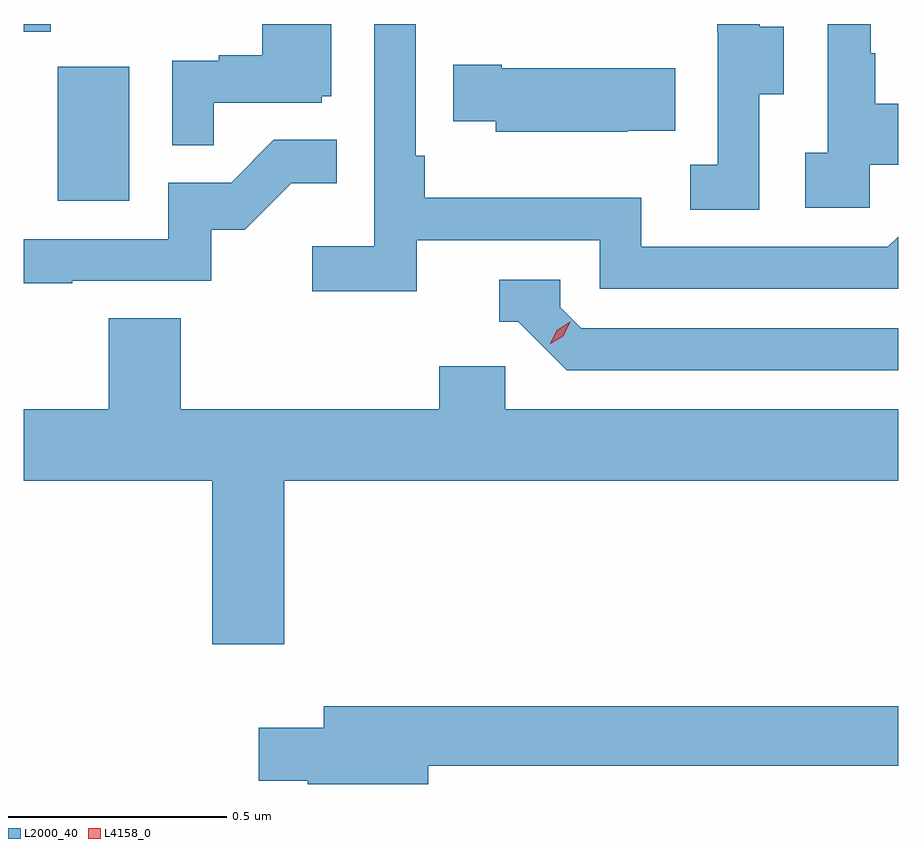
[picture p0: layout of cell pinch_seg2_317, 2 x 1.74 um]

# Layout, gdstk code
import gdstk
lib = gdstk.Library(unit=1e-6, precision=1e-09)
def R(c, l, rs):  # rectangles x0, y0, x1, y1
    for r in rs: c.add(gdstk.rectangle(r[:2], r[2:], *l))
def P(c, l, *ps):  # polygons
    for p in ps: c.add(gdstk.Polygon(p, *l))
L2000_40 = (2000, 40)
L4158_0 = (4158, 0)

pinch_seg2_317 = lib.new_cell('pinch_seg2_317')
R(pinch_seg2_317, L2000_40, [(943.874,634.956,944.038,635.263), (943.797,635.343,943.858,635.361)])
P(pinch_seg2_317, L2000_40, [(944.696,634.866),(945.114,634.866),(945.114,634.755),(945.797,634.755),(945.797,634.874),(945.774,634.851),(945.21,634.851),(945.21,634.963),(944.714,634.963),(944.714,635.059),(944.694,635.059),(944.694,635.361),(944.598,635.361),(944.598,634.852),(944.457,634.852),(944.457,634.75),(944.696,634.75)],
  [(945.732,635.039),(945.797,635.039),(945.797,635.179),(945.745,635.179),(945.745,635.294),(945.735,635.294),(945.735,635.361),(945.636,635.361),(945.636,635.066),(945.585,635.066),(945.585,634.941),(945.732,634.941)],
  [(945.48,635.2),(945.535,635.2),(945.535,635.355),(945.481,635.355),(945.481,635.361),(945.383,635.361),(945.383,635.343),(945.384,635.343),(945.384,635.039),(945.321,635.039),(945.321,634.936),(945.48,634.936)],
  [(944.231,635.181),(944.478,635.181),(944.478,635.196),(944.5,635.196),(944.5,635.361),(944.342,635.361),(944.342,635.29),(944.243,635.29),(944.243,635.277),(944.136,635.277),(944.136,635.083),(944.231,635.083)],
  [(945.179,635.117),(945.287,635.117),(945.287,635.26),(944.89,635.26),(944.89,635.268),(944.779,635.268),(944.779,635.138),(944.877,635.138),(944.877,635.114),(945.179,635.114)],
  [(943.907,634.773),(944.226,634.773),(944.226,634.89),(944.302,634.89),(944.409,634.997),(944.513,634.997),(944.513,635.096),(944.369,635.096),(944.271,634.998),(944.127,634.998),(944.127,634.869),(943.797,634.869),(943.797,634.768),(943.907,634.768)],
  [(945.797,634.665),(945.072,634.665),(945.024,634.713),(945.024,634.776),(944.885,634.776),(944.885,634.68),(944.928,634.68),(945.039,634.569),(945.797,634.569)],
  [(944.392,634.316),(945.797,634.316),(945.797,634.48),(944.898,634.48),(944.898,634.578),(944.747,634.578),(944.747,634.48),(944.156,634.48),(944.156,634.688),(943.991,634.688),(943.991,634.48),(943.797,634.48),(943.797,634.316),(944.228,634.316),(944.228,633.942),(944.392,633.942)],
  [(944.722,633.664),(945.797,633.664),(945.797,633.8),(944.483,633.8),(944.483,633.751),(944.334,633.751),(944.334,633.629),(944.446,633.629),(944.446,633.622),(944.722,633.622)])
P(pinch_seg2_317, L4158_0, [(945,634.628),(945,634.628),(945.016,634.66),(945.047,634.68),(945.047,634.68),(945.047,634.679),(945.031,634.647),(945,634.628)])

lib.write_gds('pinch_seg2_317.gds')
